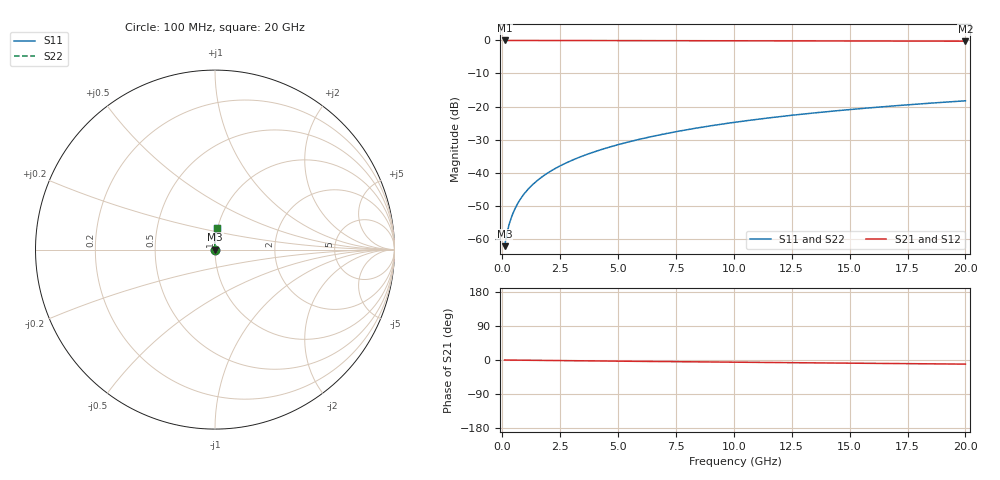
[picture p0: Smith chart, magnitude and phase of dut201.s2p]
! Touchstone file exported from HFSS 2024.1.0
!  File:  C:/UserFiles/LocalFiles/RDL_TSV_Batchsim/temp_RDL_bottom_201_1778699557.aedt
!  Generated:  03:15:10 AM May 14, 2026
!  Design:  RDL_bottom
!  Project:  temp_RDL_bottom_201_1778699557
!  Setup:  Setup1
!  Solution:  Sweep
! Variables:
!  dtsv = 10.80580581um
!  hbump = 3um
!  htsv = 96.18um
!  ldown = 117.2um
!  lrdl = 100um
!  p = 40
!  p1 = 58.53um
!  rhole = 1um
!  t = 450um
!  tdown = 4.26um
!  trdl = 3.915915916um
!  wdown = 28.49um
!  wrdl = 20um
# GHz S MA R 50.000000
! Terminal data exported
! Port[1] = RDL1_T1
! Port[2] = RDL1_T2
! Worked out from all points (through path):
!   200 points, 100 MHz to 20 GHz, reference 50 ohm
!   highest |S21| = 0.00 dB at 100 MHz (marker M1); lowest = -0.2 dB at 20 GHz (marker M2)
!   group delay of S21, straight-line fit = 1.49 ps
!   lowest |S11| = -62.2 dB at 100 MHz (marker M3), VSWR 1.00, Z = 50.1 + j0.0547 ohm
!   |S11| at or under -10 dB: start of sweep to end of sweep
!   |S22| runs from -62.2 to -18.3 dB; largest |S21 - S12| = 4.1e-15
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0.1  0.0007734 44.9  0.9994 -0.1  0.9994 -0.1  0.0007734 44.9
! Gamma 0 0 0 0
! Port Impedance 50 0 50 0
0.2  0.001212 61.4  0.9994 -0.1  0.9994 -0.1  0.001212 61.4
0.3  0.001675 68.9  0.9994 -0.2  0.9994 -0.2  0.001675 68.9
0.4  0.002145 73.3  0.9993 -0.3  0.9993 -0.3  0.002145 73.3
0.5  0.00262 76.4  0.9993 -0.3  0.9993 -0.3  0.00262 76.4
0.6  0.003099 78.6  0.9993 -0.4  0.9993 -0.4  0.003099 78.6
0.8  0.004071 81.6  0.9992 -0.5  0.9992 -0.5  0.004071 81.6
1.1  0.005549 84.4  0.999 -0.7  0.999 -0.7  0.005549 84.4
1.5  0.007549 86.7  0.9988 -1.0  0.9988 -1.0  0.007549 86.7
1.8  0.00907 87.8  0.9986 -1.1  0.9986 -1.1  0.00907 87.8
2.1  0.01061 88.7  0.9983 -1.3  0.9983 -1.3  0.01061 88.7
2.7  0.01374 90.1  0.9977 -1.7  0.9977 -1.7  0.01374 90.1
3.5  0.01804 91.2  0.9967 -2.2  0.9967 -2.2  0.01804 91.2
4.2  0.02193 91.9  0.9958 -2.6  0.9958 -2.6  0.02193 91.9
5  0.02652 92.4  0.9946 -3.1  0.9946 -3.1  0.02652 92.4
5.9  0.03184 92.6  0.9932 -3.6  0.9932 -3.6  0.03184 92.6
6.8  0.03732 92.6  0.9919 -4.1  0.9919 -4.1  0.03732 92.6
8.4  0.04733 92.2  0.9895 -4.9  0.9895 -4.9  0.04733 92.2
10.1  0.05822 91.3  0.9872 -5.8  0.9872 -5.8  0.05822 91.3
13.4  0.07964 89.2  0.983 -7.5  0.983 -7.5  0.07965 89.2
16.7  0.101 86.9  0.9791 -9.2  0.9791 -9.2  0.101 86.9
20  0.1222 84.6  0.9753 -10.9  0.9753 -10.9  0.1222 84.6
